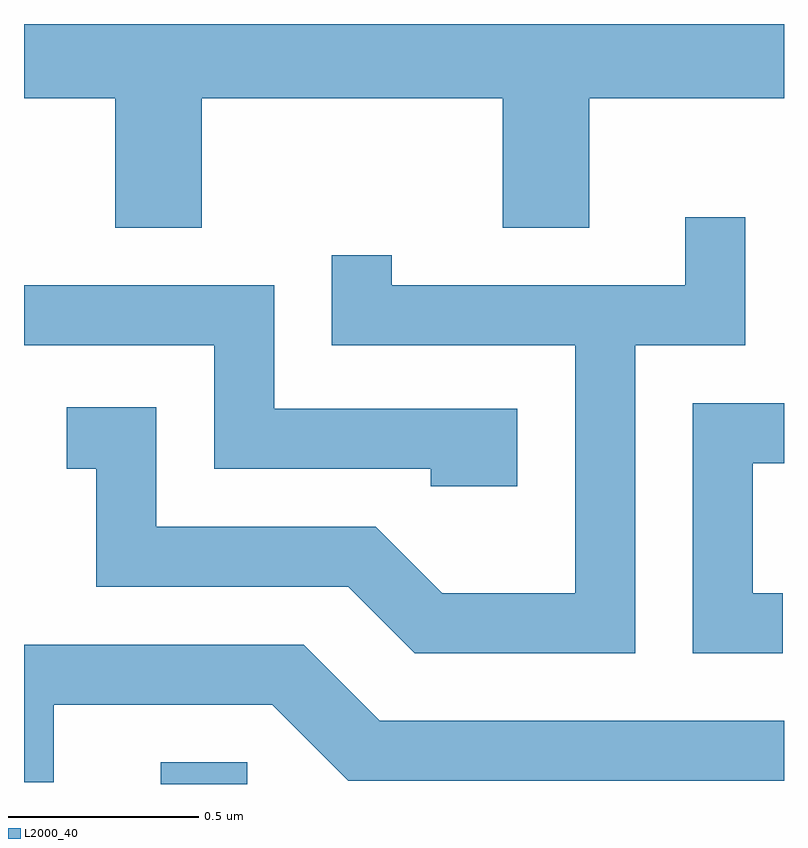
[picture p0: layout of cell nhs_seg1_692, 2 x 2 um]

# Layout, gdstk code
import gdstk
lib = gdstk.Library(unit=1e-6, precision=1e-09)
def R(c, l, rs):  # rectangles x0, y0, x1, y1
    for r in rs: c.add(gdstk.rectangle(r[:2], r[2:], *l))
def P(c, l, *ps):  # polygons
    for p in ps: c.add(gdstk.Polygon(p, *l))
L2000_40 = (2000, 40)

nhs_seg1_692 = lib.new_cell('nhs_seg1_692')
R(nhs_seg1_692, L2000_40, [(190.971,846.712,191.199,846.769)])
P(nhs_seg1_692, L2000_40, [(191.079,848.516),(191.871,848.516),(191.871,848.176),(192.099,848.176),(192.099,848.516),(192.611,848.516),(192.611,848.712),(190.611,848.712),(190.611,848.516),(190.851,848.516),(190.851,848.176),(191.079,848.176)],
  [(192.219,847.866),(192.509,847.866),(192.509,848.203),(192.351,848.203),(192.351,848.024),(191.579,848.024),(191.579,848.103),(191.421,848.103),(191.421,847.866),(192.061,847.866),(192.061,847.214),(191.712,847.214),(191.537,847.389),(190.959,847.389),(190.959,847.704),(190.723,847.704),(190.723,847.541),(190.801,847.541),(190.801,847.231),(191.464,847.231),(191.639,847.056),(192.219,847.056)],
  [(191.909,847.699),(191.269,847.699),(191.269,848.024),(190.611,848.024),(190.611,847.866),(191.111,847.866),(191.111,847.541),(191.681,847.541),(191.681,847.496),(191.909,847.496)],
  [(192.608,847.214),(192.529,847.214),(192.529,847.556),(192.611,847.556),(192.611,847.714),(192.371,847.714),(192.371,847.056),(192.608,847.056)],
  [(190.689,846.921),(191.264,846.921),(191.464,846.721),(192.611,846.721),(192.611,846.879),(191.547,846.879),(191.347,847.079),(190.611,847.079),(190.611,846.716),(190.689,846.716)])

lib.write_gds('nhs_seg1_692.gds')
